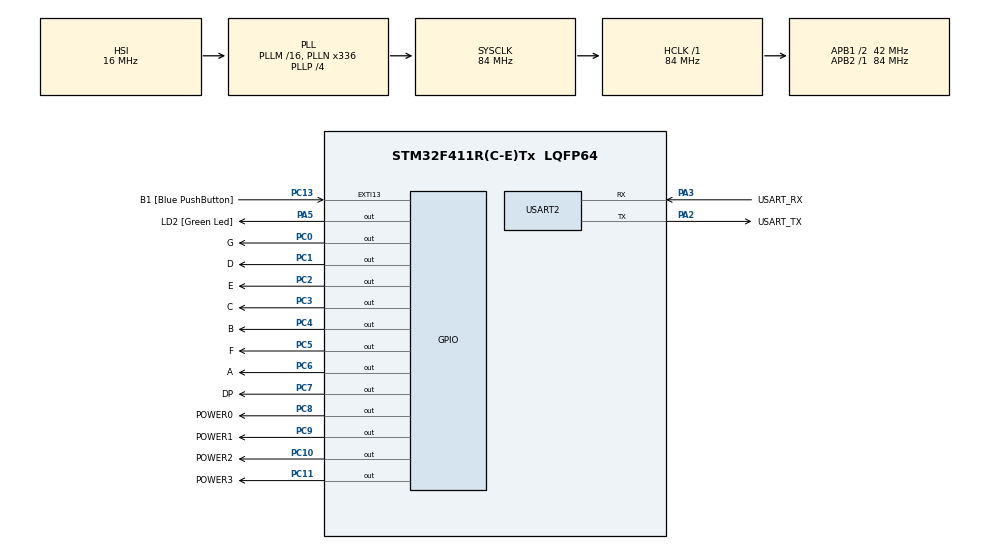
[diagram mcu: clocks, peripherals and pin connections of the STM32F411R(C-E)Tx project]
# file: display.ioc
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Dma.Request0=USART2_RX
Dma.Request1=USART2_TX
Dma.USART2_RX.0.Direction=DMA_PERIPH_TO_MEMORY
Dma.USART2_RX.0.FIFOMode=DMA_FIFOMODE_DISABLE
Dma.USART2_RX.0.Instance=DMA1_Stream5
Dma.USART2_RX.0.MemDataAlignment=DMA_MDATAALIGN_BYTE
Dma.USART2_RX.0.MemInc=DMA_MINC_ENABLE
Dma.USART2_RX.0.Mode=DMA_NORMAL
Dma.USART2_RX.0.PeriphDataAlignment=DMA_PDATAALIGN_BYTE
Dma.USART2_RX.0.PeriphInc=DMA_PINC_DISABLE
Dma.USART2_RX.0.Priority=DMA_PRIORITY_LOW
Dma.USART2_TX.1.Direction=DMA_MEMORY_TO_PERIPH
Dma.USART2_TX.1.FIFOMode=DMA_FIFOMODE_DISABLE
Dma.USART2_TX.1.Instance=DMA1_Stream6
Dma.USART2_TX.1.MemDataAlignment=DMA_MDATAALIGN_BYTE
Dma.USART2_TX.1.MemInc=DMA_MINC_ENABLE
Dma.USART2_TX.1.Mode=DMA_NORMAL
Dma.USART2_TX.1.PeriphDataAlignment=DMA_PDATAALIGN_BYTE
Dma.USART2_TX.1.PeriphInc=DMA_PINC_DISABLE
Dma.USART2_TX.1.Priority=DMA_PRIORITY_LOW
Mcu.Family=STM32F4
Mcu.Name=STM32F411R(C-E)Tx
Mcu.Package=LQFP64
NVIC.DMA1_Stream5_IRQn=true\:0\:0\:false\:false\:true\:false\:true\:true
NVIC.DMA1_Stream6_IRQn=true\:0\:0\:false\:false\:true\:false\:true\:true
NVIC.PriorityGroup=NVIC_PRIORITYGROUP_0
NVIC.TIM1_TRG_COM_TIM11_IRQn=true\:0\:0\:false\:false\:true\:true\:true\:true
NVIC.TIM1_UP_TIM10_IRQn=true\:0\:0\:false\:false\:true\:true\:true\:true
NVIC.USART2_IRQn=true\:0\:0\:false\:false\:true\:true\:true\:true
PA13.GPIO_Label=TMS
PA13.Mode=Serial_Wire
PA13.Signal=SYS_JTMS-SWDIO
PA14.GPIO_Label=TCK
PA14.Mode=Serial_Wire
PA14.Signal=SYS_JTCK-SWCLK
PA2.GPIO_Label=USART_TX
PA2.Mode=Asynchronous
PA2.Signal=USART2_TX
PA3.GPIO_Label=USART_RX
PA3.Mode=Asynchronous
PA3.Signal=USART2_RX
PA5.GPIO_Label=LD2 [Green Led]
PA5.Signal=GPIO_Output
PB3.GPIO_Label=SWO
PB3.Signal=SYS_JTDO-SWO
PC0.GPIO_Label=G
PC0.Signal=GPIO_Output
PC1.GPIO_Label=D
PC1.Signal=GPIO_Output
PC10.GPIO_Label=POWER2
PC10.Signal=GPIO_Output
PC11.GPIO_Label=POWER3
PC11.Signal=GPIO_Output
PC13-ANTI_TAMP.GPIO_Label=B1 [Blue PushButton]
PC13-ANTI_TAMP.GPIO_ModeDefaultEXTI=GPIO_MODE_IT_FALLING
PC13-ANTI_TAMP.Signal=GPXTI13
PC14-OSC32_IN.Mode=LSE-External-Oscillator
PC14-OSC32_IN.Signal=RCC_OSC32_IN
PC15-OSC32_OUT.Mode=LSE-External-Oscillator
PC15-OSC32_OUT.Signal=RCC_OSC32_OUT
PC2.GPIO_Label=E
PC2.Signal=GPIO_Output
PC3.GPIO_Label=C
PC3.Signal=GPIO_Output
PC4.GPIO_Label=B
PC4.Signal=GPIO_Output
PC5.GPIO_Label=F
PC5.Signal=GPIO_Output
PC6.GPIO_Label=A
PC6.Signal=GPIO_Output
PC7.GPIO_Label=DP
PC7.Signal=GPIO_Output
PC8.GPIO_Label=POWER0
PC8.Signal=GPIO_Output
PC9.GPIO_Label=POWER1
PC9.Signal=GPIO_Output
PH0\ -\ OSC_IN.Mode=HSE-External-Clock-Source
PH0\ -\ OSC_IN.Signal=RCC_OSC_IN
PH1\ -\ OSC_OUT.Mode=HSE-External-Clock-Source
PH1\ -\ OSC_OUT.Signal=RCC_OSC_OUT
ProjectManager.HeapSize=0x200
ProjectManager.StackSize=0x400
ProjectManager.TargetToolchain=STM32CubeIDE
RCC.48MHZClocksFreq_Value=84000000
RCC.AHBFreq_Value=84000000
RCC.APB1CLKDivider=RCC_HCLK_DIV2
RCC.APB1Freq_Value=42000000
RCC.APB1TimFreq_Value=84000000
RCC.APB2Freq_Value=84000000
RCC.APB2TimFreq_Value=84000000
RCC.CortexFreq_Value=84000000
RCC.FLatency-AdvancedSettings=FLASH_LATENCY_2
RCC.HCLKFreq_Value=84000000
RCC.HSE_VALUE=8000000
RCC.HSI_VALUE=16000000
RCC.PLLN=336
RCC.PLLP=RCC_PLLP_DIV4
RCC.SYSCLKFreq_VALUE=84000000
RCC.SYSCLKSource=RCC_SYSCLKSOURCE_PLLCLK
RCC.VCOOutputFreq_Value=336000000
TIM10.Period=999
TIM10.Prescaler=8399
TIM11.Period=50
TIM11.Prescaler=8399
TIM2.Period=999
TIM2.Prescaler=8399
TIM2.TIM_MasterOutputTrigger=TIM_TRGO_UPDATE
USART2.VirtualMode=VM_ASYNC
VP_TIM10_VS_ClockSourceINT.Mode=Enable_Timer
VP_TIM11_VS_ClockSourceINT.Mode=Enable_Timer
VP_TIM2_VS_ClockSourceINT.Mode=Internal
board=NUCLEO-F411RE

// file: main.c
/* USER CODE BEGIN Header */
/**
  ******************************************************************************
  * @file           : main.c
  * @brief          : Main program body
  ******************************************************************************
  * @attention
  *
  * Copyright (c) 2023 STMicroelectronics.
  * All rights reserved.
  *
  * This software is licensed under terms that can be found in the LICENSE file
  * in the root directory of this software component.
  * If no LICENSE file comes with this software, it is provided AS-IS.
  *
  ******************************************************************************
  */
/* USER CODE END Header */
#include "main.h"

TIM_HandleTypeDef htim2;
TIM_HandleTypeDef htim10;
TIM_HandleTypeDef htim11;

UART_HandleTypeDef huart2;
DMA_HandleTypeDef hdma_usart2_rx;
DMA_HandleTypeDef hdma_usart2_tx;

/* USER CODE BEGIN PV */
volatile uint16_t numberToWrite;
volatile uint8_t singleNumber[4];

volatile uint8_t buf_tx[100];
volatile uint8_t buf_rx[100];
volatile uint8_t buf[100];

void turn_off() {

	HAL_GPIO_WritePin(POWER0_GPIO_Port, POWER0_Pin, GPIO_PIN_SET);
	HAL_GPIO_WritePin(POWER1_GPIO_Port, POWER1_Pin, GPIO_PIN_SET);
	HAL_GPIO_WritePin(POWER2_GPIO_Port, POWER2_Pin, GPIO_PIN_SET);
	HAL_GPIO_WritePin(POWER3_GPIO_Port, POWER3_Pin, GPIO_PIN_SET);
}

void set_power_line(uint8_t number) {

	switch(number) {

	case 0:
		HAL_GPIO_WritePin(POWER0_GPIO_Port, POWER0_Pin, GPIO_PIN_RESET);
		HAL_GPIO_WritePin(POWER1_GPIO_Port, POWER1_Pin, GPIO_PIN_SET);
		HAL_GPIO_WritePin(POWER2_GPIO_Port, POWER2_Pin, GPIO_PIN_SET);
		HAL_GPIO_WritePin(POWER3_GPIO_Port, POWER3_Pin, GPIO_PIN_SET);
		break;

	case 1:
		HAL_GPIO_WritePin(POWER0_GPIO_Port, POWER0_Pin, GPIO_PIN_SET);
		HAL_GPIO_WritePin(POWER1_GPIO_Port, POWER1_Pin, GPIO_PIN_RESET);
		HAL_GPIO_WritePin(POWER2_GPIO_Port, POWER2_Pin, GPIO_PIN_SET);
		HAL_GPIO_WritePin(POWER3_GPIO_Port, POWER3_Pin, GPIO_PIN_SET);
		break;

	case 2:
		HAL_GPIO_WritePin(POWER0_GPIO_Port, POWER0_Pin, GPIO_PIN_SET);
		HAL_GPIO_WritePin(POWER1_GPIO_Port, POWER1_Pin, GPIO_PIN_SET);
		HAL_GPIO_WritePin(POWER2_GPIO_Port, POWER2_Pin, GPIO_PIN_RESET);
		HAL_GPIO_WritePin(POWER3_GPIO_Port, POWER3_Pin, GPIO_PIN_SET);
		break;

	case 3:
		HAL_GPIO_WritePin(POWER0_GPIO_Port, POWER0_Pin, GPIO_PIN_SET);
		HAL_GPIO_WritePin(POWER1_GPIO_Port, POWER1_Pin, GPIO_PIN_SET);
		HAL_GPIO_WritePin(POWER2_GPIO_Port, POWER2_Pin, GPIO_PIN_SET);
		HAL_GPIO_WritePin(POWER3_GPIO_Port, POWER3_Pin, GPIO_PIN_RESET);
		break;
	}
}

void set_diodes(uint8_t number) {

	switch(number) {

	case -1:
		turn_off();
		break;

	case 0:
		HAL_GPIO_WritePin(A_GPIO_Port, A_Pin, GPIO_PIN_SET);
		HAL_GPIO_WritePin(G_GPIO_Port, G_Pin, GPIO_PIN_RESET);
		HAL_GPIO_WritePin(D_GPIO_Port, D_Pin, GPIO_PIN_SET);
		HAL_GPIO_WritePin(F_GPIO_Port, F_Pin, GPIO_PIN_SET);
		HAL_GPIO_WritePin(E_GPIO_Port, E_Pin, GPIO_PIN_SET);
		HAL_GPIO_WritePin(B_GPIO_Port, B_Pin, GPIO_PIN_SET);
		HAL_GPIO_WritePin(C_GPIO_Port, C_Pin, GPIO_PIN_SET);
		HAL_GPIO_WritePin(DP_GPIO_Port, DP_Pin, GPIO_PIN_RESET);
		break;

	case 1:
		HAL_GPIO_WritePin(A_GPIO_Port, A_Pin, GPIO_PIN_RESET);
		HAL_GPIO_WritePin(G_GPIO_Port, G_Pin, GPIO_PIN_RESET);
		HAL_GPIO_WritePin(D_GPIO_Port, D_Pin, GPIO_PIN_RESET);
		HAL_GPIO_WritePin(F_GPIO_Port, F_Pin, GPIO_PIN_RESET);
		HAL_GPIO_WritePin(E_GPIO_Port, E_Pin, GPIO_PIN_RESET);
		HAL_GPIO_WritePin(B_GPIO_Port, B_Pin, GPIO_PIN_SET);
		HAL_GPIO_WritePin(C_GPIO_Port, C_Pin, GPIO_PIN_SET);
		HAL_GPIO_WritePin(DP_GPIO_Port, DP_Pin, GPIO_PIN_RESET);
		break;

	case 2:
		HAL_GPIO_WritePin(A_GPIO_Port, A_Pin, GPIO_PIN_SET);
		HAL_GPIO_WritePin(G_GPIO_Port, G_Pin, GPIO_PIN_SET);
		HAL_GPIO_WritePin(D_GPIO_Port, D_Pin, GPIO_PIN_SET);
		HAL_GPIO_WritePin(F_GPIO_Port, F_Pin, GPIO_PIN_RESET);
		HAL_GPIO_WritePin(E_GPIO_Port, E_Pin, GPIO_PIN_SET);
		HAL_GPIO_WritePin(B_GPIO_Port, B_Pin, GPIO_PIN_SET);
		HAL_GPIO_WritePin(C_GPIO_Port, C_Pin, GPIO_PIN_RESET);
		HAL_GPIO_WritePin(DP_GPIO_Port, DP_Pin, GPIO_PIN_RESET);
		break;

	case 3:
		HAL_GPIO_WritePin(A_GPIO_Port, A_Pin, GPIO_PIN_SET);
		HAL_GPIO_WritePin(G_GPIO_Port, G_Pin, GPIO_PIN_SET);
		HAL_GPIO_WritePin(D_GPIO_Port, D_Pin, GPIO_PIN_SET);
		HAL_GPIO_WritePin(F_GPIO_Port, F_Pin, GPIO_PIN_RESET);
		HAL_GPIO_WritePin(E_GPIO_Port, E_Pin, GPIO_PIN_RESET);
		HAL_GPIO_WritePin(B_GPIO_Port, B_Pin, GPIO_PIN_SET);
		HAL_GPIO_WritePin(C_GPIO_Port, C_Pin, GPIO_PIN_SET);
		HAL_GPIO_WritePin(DP_GPIO_Port, DP_Pin, GPIO_PIN_RESET);
		break;

	case 4:
		HAL_GPIO_WritePin(A_GPIO_Port, A_Pin, GPIO_PIN_RESET);
		HAL_GPIO_WritePin(G_GPIO_Port, G_Pin, GPIO_PIN_SET);
		HAL_GPIO_WritePin(D_GPIO_Port, D_Pin, GPIO_PIN_RESET);
		HAL_GPIO_WritePin(F_GPIO_Port, F_Pin, GPIO_PIN_SET);
		HAL_GPIO_WritePin(E_GPIO_Port, E_Pin, GPIO_PIN_RESET);
		HAL_GPIO_WritePin(B_GPIO_Port, B_Pin, GPIO_PIN_SET);
		HAL_GPIO_WritePin(C_GPIO_Port, C_Pin, GPIO_PIN_SET);
		HAL_GPIO_WritePin(DP_GPIO_Port, DP_Pin, GPIO_PIN_RESET);
		break;

	case 5:
		HAL_GPIO_WritePin(A_GPIO_Port, A_Pin, GPIO_PIN_SET);
		HAL_GPIO_WritePin(G_GPIO_Port, G_Pin, GPIO_PIN_SET);
		HAL_GPIO_WritePin(D_GPIO_Port, D_Pin, GPIO_PIN_SET);
		HAL_GPIO_WritePin(F_GPIO_Port, F_Pin, GPIO_PIN_SET);
		HAL_GPIO_WritePin(E_GPIO_Port, E_Pin, GPIO_PIN_RESET);
		HAL_GPIO_WritePin(B_GPIO_Port, B_Pin, GPIO_PIN_RESET);
		HAL_GPIO_WritePin(C_GPIO_Port, C_Pin, GPIO_PIN_SET);
		HAL_GPIO_WritePin(DP_GPIO_Port, DP_Pin, GPIO_PIN_RESET);
		break;

	case 6:
		HAL_GPIO_WritePin(A_GPIO_Port, A_Pin, GPIO_PIN_SET);
		HAL_GPIO_WritePin(G_GPIO_Port, G_Pin, GPIO_PIN_SET);
		HAL_GPIO_WritePin(D_GPIO_Port, D_Pin, GPIO_PIN_SET);
		HAL_GPIO_WritePin(F_GPIO_Port, F_Pin, GPIO_PIN_SET);
		HAL_GPIO_WritePin(E_GPIO_Port, E_Pin, GPIO_PIN_SET);
		HAL_GPIO_WritePin(B_GPIO_Port, B_Pin, GPIO_PIN_RESET);
		HAL_GPIO_WritePin(C_GPIO_Port, C_Pin, GPIO_PIN_SET);
		HAL_GPIO_WritePin(DP_GPIO_Port, DP_Pin, GPIO_PIN_RESET);
		break;

	case 7:
		HAL_GPIO_WritePin(A_GPIO_Port, A_Pin, GPIO_PIN_SET);
		HAL_GPIO_WritePin(G_GPIO_Port, G_Pin, GPIO_PIN_RESET);
		HAL_GPIO_WritePin(D_GPIO_Port, D_Pin, GPIO_PIN_RESET);
		HAL_GPIO_WritePin(F_GPIO_Port, F_Pin, GPIO_PIN_RESET);
		HAL_GPIO_WritePin(E_GPIO_Port, E_Pin, GPIO_PIN_RESET);
		HAL_GPIO_WritePin(B_GPIO_Port, B_Pin, GPIO_PIN_SET);
		HAL_GPIO_WritePin(C_GPIO_Port, C_Pin, GPIO_PIN_SET);
		HAL_GPIO_WritePin(DP_GPIO_Port, DP_Pin, GPIO_PIN_RESET);
		break;

	case 8:
		HAL_GPIO_WritePin(A_GPIO_Port, A_Pin, GPIO_PIN_SET);
		HAL_GPIO_WritePin(G_GPIO_Port, G_Pin, GPIO_PIN_SET);
		HAL_GPIO_WritePin(D_GPIO_Port, D_Pin, GPIO_PIN_SET);
		HAL_GPIO_WritePin(F_GPIO_Port, F_Pin, GPIO_PIN_SET);
		HAL_GPIO_WritePin(E_GPIO_Port, E_Pin, GPIO_PIN_SET);
		HAL_GPIO_WritePin(B_GPIO_Port, B_Pin, GPIO_PIN_SET);
		HAL_GPIO_WritePin(C_GPIO_Port, C_Pin, GPIO_PIN_SET);
		HAL_GPIO_WritePin(DP_GPIO_Port, DP_Pin, GPIO_PIN_RESET);
		break;

	case 9:
		HAL_GPIO_WritePin(A_GPIO_Port, A_Pin, GPIO_PIN_SET);
		HAL_GPIO_WritePin(G_GPIO_Port, G_Pin, GPIO_PIN_SET);
		HAL_GPIO_WritePin(D_GPIO_Port, D_Pin, GPIO_PIN_SET);
		HAL_GPIO_WritePin(F_GPIO_Port, F_Pin, GPIO_PIN_SET);
		HAL_GPIO_WritePin(E_GPIO_Port, E_Pin, GPIO_PIN_RESET);
		HAL_GPIO_WritePin(B_GPIO_Port, B_Pin, GPIO_PIN_SET);
		HAL_GPIO_WritePin(C_GPIO_Port, C_Pin, GPIO_PIN_SET);
		HAL_GPIO_WritePin(DP_GPIO_Port, DP_Pin, GPIO_PIN_RESET);
		break;
	}
}

void HAL_TIM_PeriodElapsedCallback(TIM_HandleTypeDef *htim) {
	static uint8_t counter = 0;
	static uint8_t j;

	if(htim->Instance == TIM11) {

		counter++;

		if(counter >= 4) {
			counter = 0;
		}

		if(counter == 0) {
			uint16_t copy = numberToWrite;
			uint8_t i = 0;
			j = 3;

			while(i < 4) {
				uint8_t rest = copy % 10;
				singleNumber[i] = rest;
				copy = copy / 10;
				i++;
			}
		}

		if(singleNumber[3 - counter] == 0 && j == 3 - counter) {
			turn_off();
			j--;
		}

		else {
			set_power_line(3 - counter);
			set_diodes(singleNumber[3 - counter]);
		}
	}

//	else if(htim->Instance == TIM10) {
//		HAL_ADC_Start_IT(&hadc1);
//	}
}

//void HAL_ADC_ConvCpltCallback(ADC_HandleTypeDef* hadc) {
////	hadc->Instance
//	if(hadc->Instance == ADC1) {
//		numberToWrite = HAL_ADC_GetValue(hadc);
//	}
//}

void HAL_UART_TxCpltCallback(UART_HandleTypeDef *huart) {

	if(huart -> Instance == USART2) {
//
//		uint16_t x = 124;
//
//		uint16_t tx_cnt = snprintf(buf_tx, sizeof(buf_tx), "String 2 = %d\n", x);
//		HAL_UART_Transmit_IT(huart, buf_tx, tx_cnt);
	}
}
// dadaads
void HAL_UART_RxCpltCallback(UART_HandleTypeDef *huart) {

	if(huart -> Instance == USART2) {

		static uint16_t x = 0;

		uint16_t tx_cnt = snprintf(buf_tx, sizeof(buf_tx), "Odebrano: %s, cnt = %d\n", buf_rx, x++);

		HAL_UART_Transmit_DMA(huart, buf_tx, tx_cnt);
		HAL_UART_Receive_DMA(huart, buf_rx, 2);
	}
}

/* USER CODE END PV */

void SystemClock_Config(void);
static void MX_GPIO_Init(void);
static void MX_DMA_Init(void);
static void MX_USART2_UART_Init(void);
static void MX_TIM11_Init(void);
static void MX_TIM10_Init(void);
static void MX_TIM2_Init(void);

int main(void)
{

  /* MCU Configuration--------------------------------------------------------*/

  /* Reset of all peripherals, Initializes the Flash interface and the Systick. */
  HAL_Init();

  /* Configure the system clock */
  SystemClock_Config();

  /* Initialize all configured peripherals */
  MX_GPIO_Init();
  MX_DMA_Init();
  MX_USART2_UART_Init();
  MX_TIM11_Init();
  MX_TIM10_Init();
  MX_TIM2_Init();
  /* USER CODE BEGIN 2 */

//  HAL_ADC_Start_IT(&hadc1);

  HAL_TIM_Base_Start_IT(&htim11);
  HAL_TIM_Base_Start_IT(&htim10);
  numberToWrite = 119;

  // uart
//	uint16_t x = 124;
//
//	uint16_t tx_cnt = snprintf(buf_tx, sizeof(buf_tx), "String 2 = %d\n", x);
//	HAL_UART_Transmit_IT(&huart2, buf_tx, tx_cnt);

//	HAL_UART_Receive_DMA(huart, pData, Size)
	HAL_UART_Receive_DMA(&huart2, buf_rx, 2);
//	HAL_UART_Transmit_DMA(&huart2, buf_tx, 2);

  /* USER CODE END 2 */

  /* Infinite loop */
  /* USER CODE BEGIN WHILE */
  while (1)
  {
//	  uint8_t buf[100];
//	  buf[0] = 65;
//	  buf[1] = 67;
//
//	  HAL_UART_Transmit(&huart2, buf, 2, 1000);
//	  HAL_Delay(1000);
    /* USER CODE END WHILE */

  }
}

void SystemClock_Config(void)
{
  RCC_OscInitTypeDef RCC_OscInitStruct = {0};
  RCC_ClkInitTypeDef RCC_ClkInitStruct = {0};

  /** Configure the main internal regulator output voltage
  */
  __HAL_RCC_PWR_CLK_ENABLE();
  __HAL_PWR_VOLTAGESCALING_CONFIG(PWR_REGULATOR_VOLTAGE_SCALE1);

  /** Initializes the RCC Oscillators according to the specified parameters
  * in the RCC_OscInitTypeDef structure.
  */
  RCC_OscInitStruct.OscillatorType = RCC_OSCILLATORTYPE_HSI;
  RCC_OscInitStruct.HSIState = RCC_HSI_ON;
  RCC_OscInitStruct.HSICalibrationValue = RCC_HSICALIBRATION_DEFAULT;
  RCC_OscInitStruct.PLL.PLLState = RCC_PLL_ON;
  RCC_OscInitStruct.PLL.PLLSource = RCC_PLLSOURCE_HSI;
  RCC_OscInitStruct.PLL.PLLM = 16;
  RCC_OscInitStruct.PLL.PLLN = 336;
  RCC_OscInitStruct.PLL.PLLP = RCC_PLLP_DIV4;
  RCC_OscInitStruct.PLL.PLLQ = 4;
  if (HAL_RCC_OscConfig(&RCC_OscInitStruct) != HAL_OK)
  {
    Error_Handler();
  }

  /** Initializes the CPU, AHB and APB buses clocks
  */
  RCC_ClkInitStruct.ClockType = RCC_CLOCKTYPE_HCLK|RCC_CLOCKTYPE_SYSCLK
                              |RCC_CLOCKTYPE_PCLK1|RCC_CLOCKTYPE_PCLK2;
  RCC_ClkInitStruct.SYSCLKSource = RCC_SYSCLKSOURCE_PLLCLK;
  RCC_ClkInitStruct.AHBCLKDivider = RCC_SYSCLK_DIV1;
  RCC_ClkInitStruct.APB1CLKDivider = RCC_HCLK_DIV2;
  RCC_ClkInitStruct.APB2CLKDivider = RCC_HCLK_DIV1;

  if (HAL_RCC_ClockConfig(&RCC_ClkInitStruct, FLASH_LATENCY_2) != HAL_OK)
  {
    Error_Handler();
  }
}

static void MX_TIM2_Init(void)
{

  TIM_ClockConfigTypeDef sClockSourceConfig = {0};
  TIM_MasterConfigTypeDef sMasterConfig = {0};

  htim2.Instance = TIM2;
  htim2.Init.Prescaler = 8399;
  htim2.Init.CounterMode = TIM_COUNTERMODE_UP;
  htim2.Init.Period = 999;
  htim2.Init.ClockDivision = TIM_CLOCKDIVISION_DIV1;
  htim2.Init.AutoReloadPreload = TIM_AUTORELOAD_PRELOAD_DISABLE;
  if (HAL_TIM_Base_Init(&htim2) != HAL_OK)
  {
    Error_Handler();
  }
  sClockSourceConfig.ClockSource = TIM_CLOCKSOURCE_INTERNAL;
  if (HAL_TIM_ConfigClockSource(&htim2, &sClockSourceConfig) != HAL_OK)
  {
    Error_Handler();
  }
  sMasterConfig.MasterOutputTrigger = TIM_TRGO_UPDATE;
  sMasterConfig.MasterSlaveMode = TIM_MASTERSLAVEMODE_DISABLE;
  if (HAL_TIMEx_MasterConfigSynchronization(&htim2, &sMasterConfig) != HAL_OK)
  {
    Error_Handler();
  }

}

static void MX_TIM10_Init(void)
{

  htim10.Instance = TIM10;
  htim10.Init.Prescaler = 8399;
  htim10.Init.CounterMode = TIM_COUNTERMODE_UP;
  htim10.Init.Period = 999;
  htim10.Init.ClockDivision = TIM_CLOCKDIVISION_DIV1;
  htim10.Init.AutoReloadPreload = TIM_AUTORELOAD_PRELOAD_DISABLE;
  if (HAL_TIM_Base_Init(&htim10) != HAL_OK)
  {
    Error_Handler();
  }

}

static void MX_TIM11_Init(void)
{

  htim11.Instance = TIM11;
  htim11.Init.Prescaler = 8399;
  htim11.Init.CounterMode = TIM_COUNTERMODE_UP;
  htim11.Init.Period = 50;
  htim11.Init.ClockDivision = TIM_CLOCKDIVISION_DIV1;
  htim11.Init.AutoReloadPreload = TIM_AUTORELOAD_PRELOAD_DISABLE;
  if (HAL_TIM_Base_Init(&htim11) != HAL_OK)
  {
    Error_Handler();
  }

}

static void MX_USART2_UART_Init(void)
{

  huart2.Instance = USART2;
  huart2.Init.BaudRate = 115200;
  huart2.Init.WordLength = UART_WORDLENGTH_8B;
  huart2.Init.StopBits = UART_STOPBITS_1;
  huart2.Init.Parity = UART_PARITY_NONE;
  huart2.Init.Mode = UART_MODE_TX_RX;
  huart2.Init.HwFlowCtl = UART_HWCONTROL_NONE;
  huart2.Init.OverSampling = UART_OVERSAMPLING_16;
  if (HAL_UART_Init(&huart2) != HAL_OK)
  {
    Error_Handler();
  }

}

static void MX_DMA_Init(void)
{

  /* DMA controller clock enable */
  __HAL_RCC_DMA1_CLK_ENABLE();

  /* DMA interrupt init */
  /* DMA1_Stream5_IRQn interrupt configuration */
  HAL_NVIC_SetPriority(DMA1_Stream5_IRQn, 0, 0);
  HAL_NVIC_EnableIRQ(DMA1_Stream5_IRQn);
  /* DMA1_Stream6_IRQn interrupt configuration */
  HAL_NVIC_SetPriority(DMA1_Stream6_IRQn, 0, 0);
  HAL_NVIC_EnableIRQ(DMA1_Stream6_IRQn);

}

static void MX_GPIO_Init(void)
{
  GPIO_InitTypeDef GPIO_InitStruct = {0};

  /* GPIO Ports Clock Enable */
  __HAL_RCC_GPIOC_CLK_ENABLE();
  __HAL_RCC_GPIOH_CLK_ENABLE();
  __HAL_RCC_GPIOA_CLK_ENABLE();
  __HAL_RCC_GPIOB_CLK_ENABLE();

  /*Configure GPIO pin Output Level */
  HAL_GPIO_WritePin(GPIOC, G_Pin|D_Pin|E_Pin|C_Pin
                          |B_Pin|F_Pin|A_Pin|DP_Pin
                          |POWER0_Pin|POWER1_Pin|POWER2_Pin|POWER3_Pin, GPIO_PIN_RESET);

  /*Configure GPIO pin Output Level */
  HAL_GPIO_WritePin(LD2_GPIO_Port, LD2_Pin, GPIO_PIN_RESET);

  /*Configure GPIO pin : B1_Pin */
  GPIO_InitStruct.Pin = B1_Pin;
  GPIO_InitStruct.Mode = GPIO_MODE_IT_FALLING;
  GPIO_InitStruct.Pull = GPIO_NOPULL;
  HAL_GPIO_Init(B1_GPIO_Port, &GPIO_InitStruct);

  /*Configure GPIO pins : G_Pin D_Pin E_Pin C_Pin
                           B_Pin F_Pin A_Pin DP_Pin
                           POWER0_Pin POWER1_Pin POWER2_Pin POWER3_Pin */
  GPIO_InitStruct.Pin = G_Pin|D_Pin|E_Pin|C_Pin
                          |B_Pin|F_Pin|A_Pin|DP_Pin
                          |POWER0_Pin|POWER1_Pin|POWER2_Pin|POWER3_Pin;
  GPIO_InitStruct.Mode = GPIO_MODE_OUTPUT_PP;
  GPIO_InitStruct.Pull = GPIO_NOPULL;
  GPIO_InitStruct.Speed = GPIO_SPEED_FREQ_LOW;
  HAL_GPIO_Init(GPIOC, &GPIO_InitStruct);

  /*Configure GPIO pin : LD2_Pin */
  GPIO_InitStruct.Pin = LD2_Pin;
  GPIO_InitStruct.Mode = GPIO_MODE_OUTPUT_PP;
  GPIO_InitStruct.Pull = GPIO_NOPULL;
  GPIO_InitStruct.Speed = GPIO_SPEED_FREQ_LOW;
  HAL_GPIO_Init(LD2_GPIO_Port, &GPIO_InitStruct);

}

void Error_Handler(void)
{
  __disable_irq();
  while (1)
  {
  }
}
